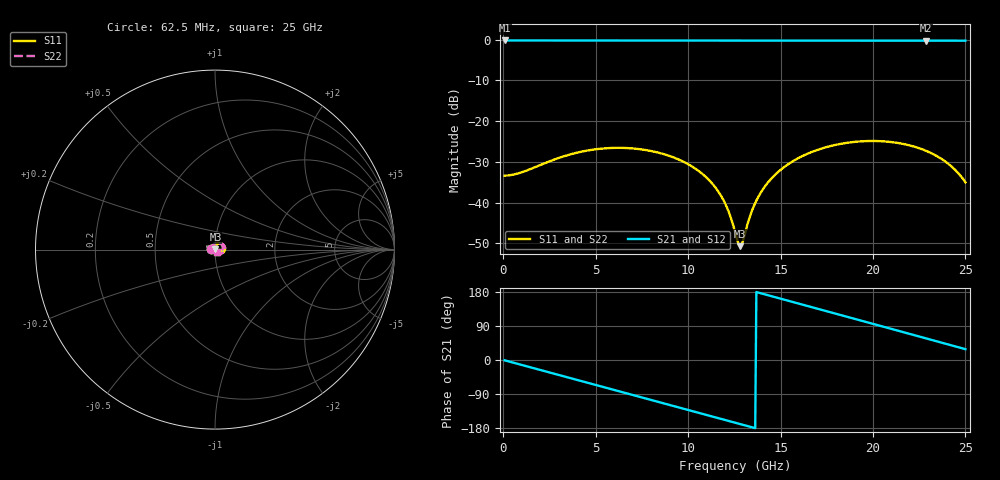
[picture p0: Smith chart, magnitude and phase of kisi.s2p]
! thru_BV_vna_rf_hblb1_q070f25s_in: 2×thru F.Cu, 6 mm
! stackup: as the board case
! ports: 1 near, 2 far
! kisi-fdtd, conformal, dfine 0.07 mm, 229392 cells
# Hz S RI R 50
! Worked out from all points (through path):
!   400 points, 62.5 MHz to 25 GHz, reference 50 ohm
!   highest |S21| = -0.19 dB at 62.5 MHz (marker M1); lowest = -0.3 dB at 22.88 GHz (marker M2)
!   group delay of S21, straight-line fit = 36.8 ps
!   lowest |S11| = -50.7 dB at 12.81 GHz (marker M3), VSWR 1.01, Z = 50.3 + j0.101 ohm
!   |S11| at or under -10 dB: start of sweep to end of sweep
!   |S22| runs from -50.7 to -24.9 dB; largest |S21 - S12| = 0
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6.25e7  -0.0214 0.000896  0.9781 -0.0141  0.9781 -0.0141  -0.0214 0.000896
2.0625e9  -0.0107 0.0274  0.8682 -0.4477  0.8682 -0.4477  -0.0107 0.0274
4.25e9  0.0191 0.0377  0.5441 -0.8092  0.5441 -0.8092  0.0191 0.0377
6.3125e9  0.0417 0.0217  0.1149 -0.9679  0.1149 -0.9679  0.0417 0.0217
7.3125e9  0.0444 0.00949  -0.1088 -0.9686  -0.1088 -0.9686  0.0444 0.00949
8.375e9  0.041 -0.00249  -0.3402 -0.9134  -0.3402 -0.9134  0.041 -0.00249
1e10  0.0267 -0.0126  -0.6508 -0.7256  -0.6508 -0.7256  0.0267 -0.0126
1.11875e10  0.0144 -0.0113  -0.8228 -0.5223  -0.8228 -0.5223  0.0144 -0.0113
1.2e10  0.00733 -0.00638  -0.9058 -0.3596  -0.9058 -0.3596  0.00733 -0.00638
1.23125e10  0.00523 -0.00378  -0.9293 -0.2933  -0.9293 -0.2933  0.00523 -0.00378
1.25625e10  0.00384 -0.00147  -0.9447 -0.2392  -0.9447 -0.2392  0.00384 -0.00147
1.28125e10  0.00274 0.001  -0.9569 -0.1842  -0.9569 -0.1842  0.00274 0.001
1.29375e10  0.0023 0.00229  -0.9618 -0.1565  -0.9618 -0.1565  0.0023 0.00229
1.35e10  0.0013 0.0084  -0.9739 -0.0304  -0.9739 -0.0304  0.0013 0.0084
1.41875e10  0.00233 0.016  -0.9662 0.1243  -0.9662 0.1243  0.00233 0.016
1.525e10  0.00866 0.0265  -0.9066 0.3559  -0.9066 0.3559  0.00866 0.0265
1.66875e10  0.0241 0.0342  -0.7399 0.6326  -0.7399 0.6326  0.0241 0.0342
1.8875e10  0.0495 0.0245  -0.3383 0.9118  -0.3383 0.9118  0.0495 0.0245
2.0875e10  0.0557 -0.000849  0.1065 0.9657  0.1065 0.9657  0.0557 -0.000849
2.2875e10  0.0379 -0.0206  0.5286 0.8145  0.5286 0.8145  0.0379 -0.0206
2.40625e10  0.0215 -0.021  0.7315 0.639  0.7315 0.639  0.0215 -0.021
2.5e10  0.0103 -0.0145  0.8536 0.4648  0.8536 0.4648  0.0103 -0.0145
